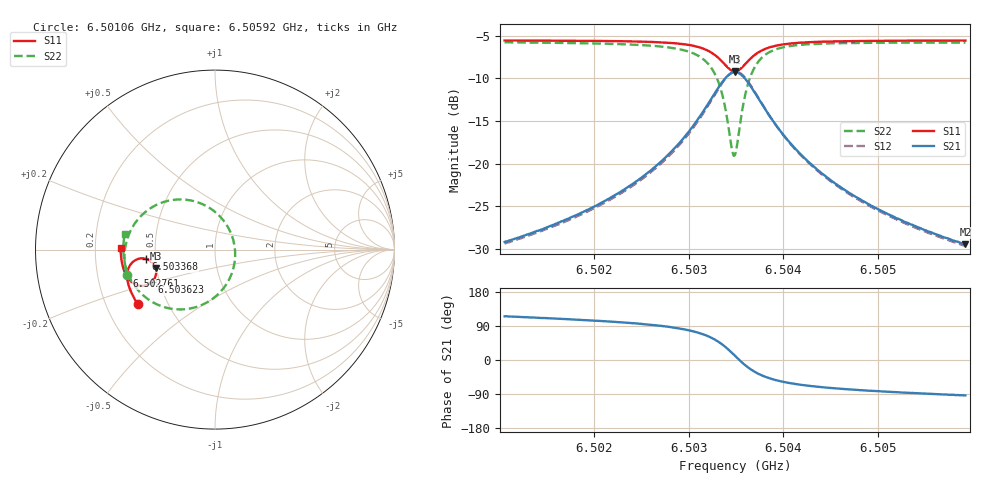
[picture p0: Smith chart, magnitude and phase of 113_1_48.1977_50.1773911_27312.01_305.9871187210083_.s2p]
#  HZ  S  RI  R  50.00
! Rohde & Schwarz Vector Network Analyzer
! Rohde-Schwarz,ZNB20-2Port,1311601062101988,3.16
! Created: UTC 3/20/2024, 11:41:04 AM
! freq[Hz]  re:S11  im:S11  re:S21  im:S21  re:S12  im:S12  re:S22  im:S22
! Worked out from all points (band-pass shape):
!   401 points, 6.50106 GHz to 6.50592 GHz, reference 50 ohm
!   highest |S21| = -9.29 dB at 6.50349 GHz (marker M1); lowest = -29.5 dB at 6.50592 GHz (marker M2)
!   |S21| within 3 dB of the highest: 6.503246 GHz to 6.503732 GHz (485.9 kHz wide, 0.00747 % of centre)
!   lowest |S11| = -9.2 dB at 6.50349 GHz (marker M3), VSWR 2.06, Z = 24.7 - j5.78 ohm
!   |S11| at or under -10 dB: nowhere
!   |S22| runs from -19.1 to -5.8 dB; largest |S21 - S12| = 0.012
!   S11 on the Smith chart (normalised r, x): 6.50106 GHz: 0.34, -0.28; 6.502761 GHz: 0.33, -0.13; 6.503368 GHz: 0.44, -0.05; 6.503623 GHz: 0.45, -0.19; 6.50592 GHz: 0.31, +0.01
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6.5010599e9  -0.4312 -0.302  -0.0148 0.0314  -0.013 0.0315  -0.493 -0.1432
6.5018739e9  -0.4654 -0.2409  -0.014 0.0498  -0.0116 0.0492  -0.5041 -0.0546
6.502287e9  -0.4797 -0.2039  -0.0113 0.0677  -0.00826 0.0666  -0.5007 0.00528
6.5026879e9  -0.4889 -0.1588  -0.00122 0.1001  0.00245 0.0978  -0.4784 0.0873
6.5027608e9  -0.4894 -0.1489  0.00289 0.1093  0.00666 0.1063  -0.4696 0.1069
6.5029673e9  -0.4856 -0.1153  0.0246 0.1433  0.0283 0.1389  -0.4242 0.1747
6.5031252e9  -0.4706 -0.0831  0.0647 0.1797  0.0674 0.1738  -0.346 0.2388
6.503271e9  -0.4322 -0.0534  0.1476 0.2086  0.1483 0.2022  -0.1947 0.2795
6.5033196e9  -0.4105 -0.0487  0.1907 0.2069  0.1909 0.2011  -0.1189 0.2702
6.5033682e9  -0.385 -0.0509  0.2402 0.1913  0.2404 0.1864  -0.0342 0.2347
6.5034533e9  -0.3418 -0.0806  0.3191 0.1154  0.3217 0.1108  0.0915 0.0846
6.5034897e9  -0.3309 -0.1031  0.3368 0.0659  0.3402 0.0602  0.112 -0.00829
6.503514e9  -0.3279 -0.1197  0.3399 0.0306  0.344 0.0237  0.1089 -0.0728
6.5035505e9  -0.3302 -0.1439  0.3324 -0.02  0.3358 -0.0292  0.0807 -0.1627
6.5036234e9  -0.3528 -0.1814  0.2848 -0.0969  0.2844 -0.1087  -0.0317 -0.2866
6.5037327e9  -0.399 -0.2015  0.1965 -0.1425  0.191 -0.1524  -0.2102 -0.3328
6.5038907e9  -0.4465 -0.1921  0.1118 -0.1383  0.1044 -0.1435  -0.3629 -0.2831
6.5040607e9  -0.4746 -0.1707  0.0658 -0.1169  0.0594 -0.1192  -0.437 -0.2158
6.5043037e9  -0.4957 -0.1409  0.035 -0.0914  0.0299 -0.0919  -0.4816 -0.1417
6.5046682e9  -0.5113 -0.1021  0.0154 -0.0671  0.012 -0.0667  -0.5044 -0.0658
6.5051177e9  -0.5208 -0.0599  0.00529 -0.0499  0.00284 -0.0492  -0.5108 0.000191
6.5059196e9  -0.526 0.00858  -0.00197 -0.0336  -0.00341 -0.0326  -0.5034 0.0871
